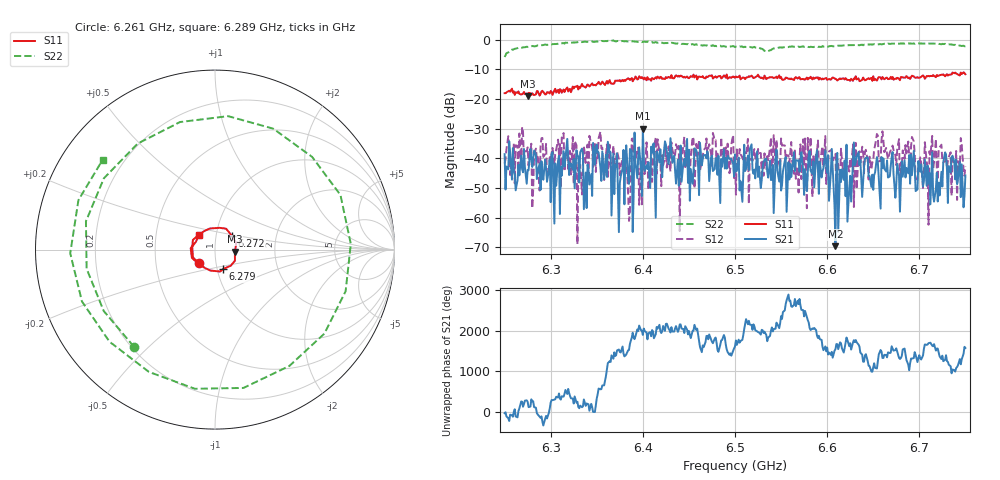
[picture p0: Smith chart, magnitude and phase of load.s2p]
# Hz S RI R 50
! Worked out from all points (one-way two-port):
!   401 points, 6.25 GHz to 6.75 GHz, reference 50 ohm
!   highest |S21| = -29.96 dB at 6.4 GHz (marker M1); lowest = -69.6 dB at 6.609 GHz (marker M2)
!   lowest |S11| = -19.1 dB at 6.275 GHz (marker M3), VSWR 1.25, Z = 62.4 - j1.52 ohm
!   |S11| at or under -10 dB: start of sweep to end of sweep
!   |S22| runs from -5.8 to -0.2 dB; largest |S21 - S12| = 0.046
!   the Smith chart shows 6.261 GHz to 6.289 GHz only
!   S11 on the Smith chart (normalised r, x): 6.261 GHz: 0.83, -0.13; 6.272 GHz: 1.19, +0.18; 6.279 GHz: 1.07, -0.23; 6.289 GHz: 0.83, +0.14
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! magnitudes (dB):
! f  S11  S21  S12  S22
! 6.25 GHz  -18.0  -38.6  -41.7  -5.8
! 6.261 GHz  -18.6  -45.3  -48.4  -3.0
! 6.272 GHz  -18.3  -42.9  -37.6  -2.5
! 6.275 GHz  -19.1  -43.9  -36.3  -2.4
! 6.279 GHz  -18.6  -39.2  -35.0  -2.3
! 6.289 GHz  -18.3  -50.6  -35.7  -1.9
! 6.325 GHz  -16.4  -40.2  -48.6  -0.9
! 6.331 GHz  -15.8  -48.1  -46.0  -0.9
! 6.334 GHz  -14.9  -36.7  -52.2  -0.8
! 6.354 GHz  -15.1  -43.3  -31.0  -0.5
! 6.38 GHz  -13.6  -55.5  -42.3  -0.5
! 6.384 GHz  -13.0  -46.4  -51.7  -0.6
! 6.39 GHz  -13.3  -52.7  -40.0  -0.5
! 6.4 GHz  -12.9  -30.0  -36.6  -0.7
! 6.418 GHz  -13.0  -41.4  -37.9  -0.8
! 6.5 GHz  -12.8  -38.7  -39.8  -2.5
! 6.584 GHz  -13.4  -45.2  -53.0  -2.4
! 6.609 GHz  -13.2  -69.6  -38.4  -2.1
! 6.625 GHz  -13.8  -45.9  -40.1  -1.8
! 6.631 GHz  -12.3  -41.0  -34.8  -1.9
! 6.668 GHz  -13.2  -46.1  -38.0  -1.4
! 6.75 GHz  -11.6  -45.8  -42.6  -2.2
